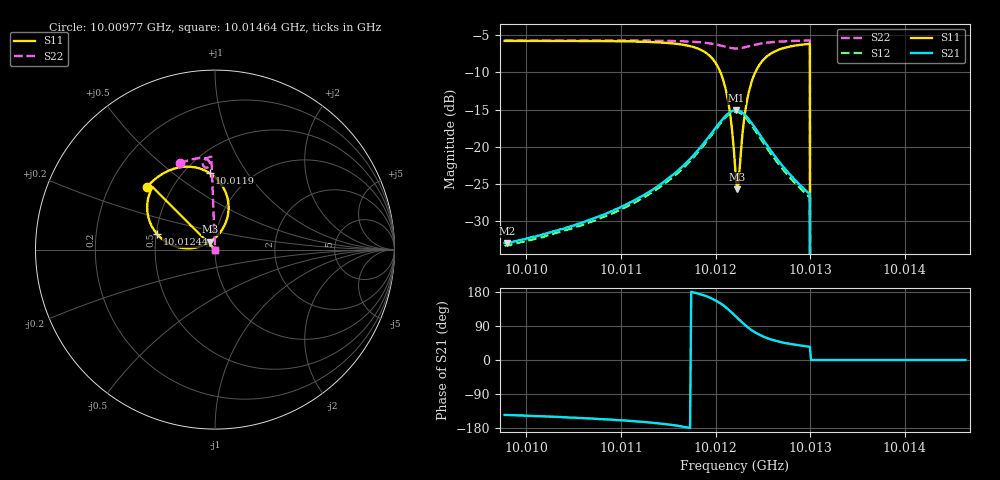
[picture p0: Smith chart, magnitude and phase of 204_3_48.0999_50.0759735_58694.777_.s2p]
#  HZ  S  RI  R  50.00
! Rohde & Schwarz Vector Network Analyzer
! Rohde-Schwarz,ZNB20-2Port,1311601062101988,3.16
! Created: UTC 12/23/2023, 3:55:06 AM
! freq[Hz]  re:S11  im:S11  re:S21  im:S21  re:S12  im:S12  re:S22  im:S22
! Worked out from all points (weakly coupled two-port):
!   401 points, 10.00977 GHz to 10.01464 GHz, reference 50 ohm
!   highest |S21| = -15.08 dB at 10.01222 GHz (marker M1); lowest = -33.0 dB at 10.00979 GHz (marker M2)
!   lowest |S11| = -25.8 dB at 10.01223 GHz (marker M3), VSWR 1.11, Z = 47.2 + j4.19 ohm
!   |S11| at or under -10 dB: 10.01205 GHz to 10.01242 GHz (367.5 kHz wide, 0.00367 % of centre); 10.013 GHz to end of sweep
!   |S22| runs from - to -5.7 dB; largest |S21 - S12| = 0.0086
!   S11 on the Smith chart (normalised r, x): 10.00977 GHz: 0.36, +0.35; 10.0119 GHz: 0.66, +0.69; 10.01244 GHz: 0.51, +0.10; 10.01464 GHz: 1.00, +0.00
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1.0009769e10  -0.3783 0.3504  -0.0184 -0.0128  -0.0168 -0.0133  -0.1957 0.4799
1.0009793e10  -0.3769 0.3519  -0.0184 -0.0128  -0.0171 -0.0134  -0.1944 0.4806
1.0010585e10  -0.3227 0.4014  -0.0275 -0.0139  -0.0257 -0.0145  -0.1441 0.4985
1.0011401e10  -0.2188 0.4537  -0.0537 -0.0122  -0.051 -0.0144  -0.0852 0.5095
1.0011901e10  -0.0303 0.4264  -0.1084 0.0219  -0.1061 0.0157  -0.0382 0.4981
1.001201e10  0.0407 0.3553  -0.1242 0.0564  -0.1238 0.0483  -0.029 0.4858
1.0012096e10  0.0754 0.2489  -0.1245 0.0987  -0.1257 0.091  -0.0281 0.4713
1.0012157e10  0.0596 0.1495  -0.1069 0.1339  -0.1102 0.1262  -0.0341 0.4611
1.0012205e10  0.00971 0.0738  -0.0801 0.1569  -0.0842 0.1498  -0.0431 0.4564
1.0012217e10  -0.00689 0.0586  -0.0721 0.1607  -0.076 0.1542  -0.0456 0.4561
1.001223e10  -0.0264 0.0443  -0.0635 0.164  -0.0675 0.1575  -0.0482 0.4559
1.0012254e10  -0.0674 0.0231  -0.0465 0.1675  -0.0506 0.1613  -0.0534 0.4568
1.0012291e10  -0.1333 0.00778  -0.0206 0.1668  -0.0253 0.161  -0.0599 0.4603
1.0012327e10  -0.1955 0.0115  0.00285 0.1595  -0.00239 0.1543  -0.0647 0.4658
1.0012376e10  -0.2642 0.0375  0.0264 0.1436  0.0203 0.1392  -0.0679 0.4743
1.0012437e10  -0.3221 0.0854  0.0433 0.1211  0.0378 0.1173  -0.0677 0.4844
1.0012619e10  -0.3772 0.2183  0.054 0.069  0.049 0.0677  -0.0539 0.5044
1.0012973e10  -0.3511 0.3437  0.0402 0.0287  0.0368 0.0293  -0.0222 0.5174
1.0013022e10  0 0  0 0  0 0  0 0
1.0013034e10  0 0  0 0  0 0  0 0
1.0013838e10  0 0  0 0  0 0  0 0
1.0014642e10  0 0  0 0  0 0  0 0
